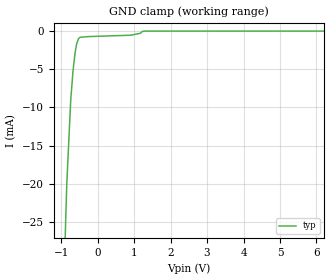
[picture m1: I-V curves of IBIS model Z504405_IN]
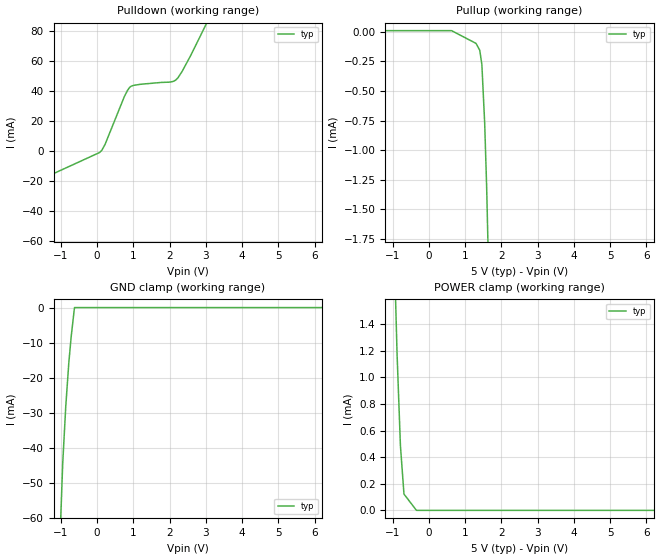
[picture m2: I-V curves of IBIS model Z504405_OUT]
| YOU ARE ONLY AUTHORIZED TO USE THIS SOFTWARE
| ACCORDING TO LICENSOR'S LICENSE RESTRICTIONS.
[IBIS Ver] 3.1
[File Name] sn54ls191j.ibs
[File Rev] 2.0
[Source] Measured and created by ICX Technology
[Date] Friday 7/14/00 9:08:14 AM
[Copyright]
| (C) COPYRIGHT 1993-2000
| MENTOR GRAPHICS CORPORATION
| ICX STANDARD LIBRARY, ICX PROJECT MODELING,
| ICX CUSTOM MODELING, ICX VENDOR MODEL
| ALL RIGHTS RESERVED.
| THE FOLLOWING ARE TRADEMARKS OR SERVICE MARKS OF
| MENTOR GRAPHICS CORPORATION:ICX (R), ICX STANDARD
| LIBRARY(R), ICX PROJECT MODELING(R), ICX CUSTOM
| MODELING(R), qualityIBIS(TM), MODELVIEWER(TM),
| AND MODELEDITOR(TM)
| ALL COPIES OF SOFTWARE, INCLUDING BUT NOT LIMITED TO
| ANY MODIFICATIONS, ENHANCEMENTS OR DERIVATIVE WORKS,
| MUST CONTAIN ALL MENTOR GRAPHICS CORPORATION'S
| NOTICES AND LEGENDS, INCLUDING THOSE EMBEDDED IN
| SOFTWARE AND THOSE AFFIXED TO SOFTWARE MEDIUM
| AND CONTAINER, AS RECEIVED FROM MENTOR GRAPHICS
| CORPORATION.
|  ZAP Model Builder 2.7
[Component] SN54LS191J
[Manufacturer] OnSemiconductor
[Package]
| variable   typ   min   max
R_pkg  .212ohms NA NA
L_pkg  4.758nH NA NA
C_pkg  1.944pF NA NA
[Pin] signal_name  model_name  R_pin  L_pin C_pin
1 B Z504405_IN .224 7.258n 2.683p
2 QB Z504405_OUT .216 5.258n 2.19p
3 QA Z504405_OUT .208 3.758n 1.697p
4 _CTEN Z504405_IN .2 2.758n 1.204p
5 D_U Z504405_IN .2 2.758n 1.204p
6 QC Z504405_OUT .208 3.758n 1.697p
7 QD Z504405_OUT .216 5.258n 2.19p
8 GND GND .224 7.258n 2.683p
9 D Z504405_IN .224 7.258n 2.683p
10 C Z504405_IN .216 5.258n 2.19p
11 _LOAD Z504405_IN .208 3.758n 1.697p
12 MAX_MIN Z504405_OUT .2 2.758n 1.204p
13 _RCO Z504405_OUT .2 2.758n 1.204p
14 CLK Z504405_IN .208 3.758n 1.697p
15 A Z504405_IN .216 5.258n 2.19p
16 VCC POWER .224 7.258n 2.683p
| Models and submodels in the file (2): Z504405_IN (Input), Z504405_OUT (Output)
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| (C) COPYRIGHT 1993-2000
| MENTOR GRAPHICS CORPORATION
| ICX STANDARD LIBRARY, ICX PROJECT MODELING,
| ICX CUSTOM MODELING, ICX VENDOR MODEL
| ALL RIGHTS RESERVED.
| THE FOLLOWING ARE TRADEMARKS OR SERVICE MARKS OF
| MENTOR GRAPHICS CORPORATION:ICX (R), ICX STANDARD
| LIBRARY(R), ICX PROJECT MODELING(R), ICX CUSTOM
| MODELING(R), qualityIBIS(TM), MODELVIEWER(TM),
| AND MODELEDITOR(TM)
| ALL COPIES OF SOFTWARE, INCLUDING BUT NOT LIMITED TO
| ANY MODIFICATIONS, ENHANCEMENTS OR DERIVATIVE WORKS,
| MUST CONTAIN ALL MENTOR GRAPHICS CORPORATION'S
| NOTICES AND LEGENDS, INCLUDING THOSE EMBEDDED IN
| SOFTWARE AND THOSE AFFIXED TO SOFTWARE MEDIUM
| AND CONTAINER, AS RECEIVED FROM MENTOR GRAPHICS
| CORPORATION.
| Model Application Version 1.89 2/18/99.
[Model] Z504405_IN
Model_type Input
Vinl = 800.0mV
Vinh = 2.000V
C_comp 4.000pF NA NA
| variable typ   min   max
[Voltage Range] 5.000V NA NA
[GND Clamp Reference] 0.000V NA NA
[POWER Clamp Reference] 5.000V NA NA
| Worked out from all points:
|   GND clamp passes 1 mA (typ) near -0.52 V on its own axis
[GND Clamp]
-5V       -684.6mA   NA         NA
-844.7mV  -20.02mA   NA         NA
-736.9mV  -9.049mA   NA         NA
-675.8mV  -5.315mA   NA         NA
-618.2mV  -2.868mA   NA         NA
-572.5mV  -1.646mA   NA         NA
-521.9mV  -982.4uA   NA         NA
-478.5mV  -822.5uA   NA         NA
909.3mV   -546.7uA   NA         NA
1.172V    -296.1uA   NA         NA
1.265V    -7.638uA   NA         NA
10V       -7.638uA   NA         NA
[POWER Clamp]
-5V       0A         NA         NA
10V       0A         NA         NA
| (C) COPYRIGHT 1993-2000
| MENTOR GRAPHICS CORPORATION
| ICX STANDARD LIBRARY, ICX PROJECT MODELING,
| ICX CUSTOM MODELING, ICX VENDOR MODEL
| ALL RIGHTS RESERVED.
| THE FOLLOWING ARE TRADEMARKS OR SERVICE MARKS OF
| MENTOR GRAPHICS CORPORATION:ICX (R), ICX STANDARD
| LIBRARY(R), ICX PROJECT MODELING(R), ICX CUSTOM
| MODELING(R), qualityIBIS(TM), MODELVIEWER(TM),
| AND MODELEDITOR(TM)
| ALL COPIES OF SOFTWARE, INCLUDING BUT NOT LIMITED TO
| ANY MODIFICATIONS, ENHANCEMENTS OR DERIVATIVE WORKS,
| MUST CONTAIN ALL MENTOR GRAPHICS CORPORATION'S
| NOTICES AND LEGENDS, INCLUDING THOSE EMBEDDED IN
| SOFTWARE AND THOSE AFFIXED TO SOFTWARE MEDIUM
| AND CONTAINER, AS RECEIVED FROM MENTOR GRAPHICS
| CORPORATION.
| Model Application Version 1.89 2/18/99.
[Model] Z504405_OUT
Model_type Output
Vref=5.000V
Rref=2.000kohms
Cref=15.00pF
Vmeas=1.300V
C_comp 8.000pF NA NA
| variable typ   min   max
[Voltage Range] 5.000V NA NA
[POWER Clamp Reference] 5.000V NA NA
[Pullup Reference] 5.000V NA NA
[Pulldown Reference] 0.000V NA NA
[GND Clamp Reference] 0.000V NA NA
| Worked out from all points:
|   slope of the pulldown table from 0 to 0.75 V, typ, clamps not added: 19.8 ohm
|   slope of the pullup table from 0 to 0.75 V, typ, clamps not added: 37.6 kohm
|   GND clamp passes 1 mA (typ) near -0.63 V on its own axis
|   POWER clamp passes 1 mA (typ) near -0.85 V on its own axis
[GND Clamp]
-5V       -1.564A    NA         NA
-1.113V   -91.35mA   NA         NA
-946.7mV  -44.4mA    NA         NA
-862.8mV  -28.15mA   NA         NA
-779.2mV  -15.82mA   NA         NA
-710.8mV  -8.043mA   NA         NA
-621.9mV  0A         NA         NA
10V       0A         NA         NA
[Pulldown]
-5V       -57.33mA   NA         NA
68.74mV   -1.157mA   NA         NA
131.8mV   334.5uA    NA         NA
224.6mV   4.472mA    NA         NA
748.3mV   35.94mA    NA         NA
898.4mV   42.36mA    NA         NA
1.199V    44.41mA    NA         NA
2.129V    46.64mA    NA         NA
2.231V    48.75mA    NA         NA
2.344V    52.93mA    NA         NA
2.576V    63.32mA    NA         NA
10V       426.8mA    NA         NA
[Pullup]
-5V       9.493uA    NA         NA
625mV     9.493uA    NA         NA
1.299V    -98.1uA    NA         NA
1.402V    -156.1uA   NA         NA
1.46V     -276.3uA   NA         NA
1.538V    -772.1uA   NA         NA
1.592V    -1.31mA    NA         NA
10V       -112.1mA   NA         NA
[POWER Clamp]
-5V       49.37mA    NA         NA
-1.006V   2.453mA    NA         NA
-878mV    1.173mA    NA         NA
-786mV    487.6uA    NA         NA
-688mV    122.6uA    NA         NA
-344mV    0A         NA         NA
10V       0A         NA         NA
[Ramp]
| variable typ min max
dV/dt_r 1.762/8.787n NA NA
dV/dt_f 1.762/2.503n NA NA
R_load = 500.0Ohms
